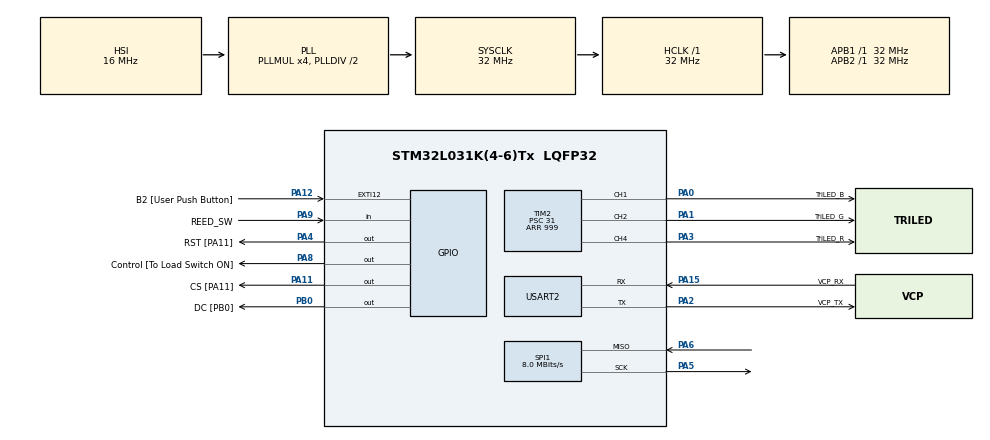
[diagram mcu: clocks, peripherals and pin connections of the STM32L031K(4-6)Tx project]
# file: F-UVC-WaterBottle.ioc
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Mcu.Family=STM32L0
Mcu.Name=STM32L031K(4-6)Tx
Mcu.Package=LQFP32
NVIC.EXTI4_15_IRQn=true\:0\:0\:false\:false\:true\:true\:true\:true
PA0-CK_IN.GPIO_Label=TriLED_B
PA0-CK_IN.Signal=S_TIM2_CH1
PA1.GPIO_Label=TriLED_G
PA1.Signal=S_TIM2_CH2
PA11.GPIO_Label=CS [PA11]
PA11.PinState=GPIO_PIN_SET
PA11.Signal=GPIO_Output
PA12.GPIO_Label=B2 [User Push Button]
PA12.GPIO_ModeDefaultEXTI=GPIO_MODE_IT_FALLING
PA12.GPIO_PuPd=GPIO_PULLUP
PA12.Signal=GPXTI12
PA13.GPIO_Label=TMS
PA13.Mode=Serial_Wire
PA13.Signal=SYS_SWDIO
PA14.GPIO_Label=TCK
PA14.Mode=Serial_Wire
PA14.Signal=SYS_SWCLK
PA15.GPIO_Label=VCP_RX
PA15.Mode=Asynchronous
PA15.Signal=USART2_RX
PA2.GPIO_Label=VCP_TX
PA2.Mode=Asynchronous
PA2.Signal=USART2_TX
PA3.GPIO_Label=TriLED_R
PA3.Signal=S_TIM2_CH4
PA4.GPIO_Label=RST [PA11]
PA4.PinState=GPIO_PIN_SET
PA4.Signal=GPIO_Output
PA5.Mode=RX_Only_Simplex_Unidirect_Master
PA5.Signal=SPI1_SCK
PA6.Mode=RX_Only_Simplex_Unidirect_Master
PA6.Signal=SPI1_MISO
PA7.Signal=SPI1_MOSI
PA8.GPIO_Label=Control [To Load Switch ON]
PA8.Signal=GPIO_Output
PA9.GPIO_Label=REED_SW
PA9.GPIO_PuPd=GPIO_PULLUP
PA9.Signal=GPIO_Input
PB0.GPIO_Label=DC [PB0]
PB0.Signal=GPIO_Output
PC14-OSC32_IN.Mode=LSE-External-Oscillator
PC14-OSC32_IN.Signal=RCC_OSC32_IN
PC15-OSC32_OUT.Mode=LSE-External-Oscillator
PC15-OSC32_OUT.Signal=RCC_OSC32_OUT
ProjectManager.HeapSize=0x200
ProjectManager.StackSize=0x400
ProjectManager.TargetToolchain=STM32CubeIDE
RCC.AHBFreq_Value=32000000
RCC.APB1Freq_Value=32000000
RCC.APB1TimFreq_Value=32000000
RCC.APB2Freq_Value=32000000
RCC.APB2TimFreq_Value=32000000
RCC.HCLKFreq_Value=32000000
RCC.HSE_VALUE=8000000
RCC.HSI16_VALUE=16000000
RCC.HSI48_VALUE=48000000
RCC.HSI_VALUE=16000000
RCC.MSI_VALUE=2097000
RCC.PLLMUL=RCC_PLLMUL_4
RCC.SYSCLKFreq_VALUE=32000000
RCC.SYSCLKSource=RCC_SYSCLKSOURCE_PLLCLK
RCC.VCOOutputFreq_Value=64000000
SH.S_TIM2_CH1.0=TIM2_CH1,PWM Generation1 CH1
SH.S_TIM2_CH2.0=TIM2_CH2,PWM Generation2 CH2
SH.S_TIM2_CH4.0=TIM2_CH4,PWM Generation4 CH4
SPI1.BaudRatePrescaler=SPI_BAUDRATEPRESCALER_4
SPI1.CalculateBaudRate=8.0 MBits/s
SPI1.Direction=SPI_DIRECTION_2LINES_RXONLY
SPI1.Mode=SPI_MODE_MASTER
SPI1.VirtualType=VM_MASTER
TIM2.Channel-PWM\ Generation1\ CH1=TIM_CHANNEL_1
TIM2.Channel-PWM\ Generation2\ CH2=TIM_CHANNEL_2
TIM2.Channel-PWM\ Generation4\ CH4=TIM_CHANNEL_4
TIM2.Period=999
TIM2.Prescaler=31
USART2.VirtualMode-Asynchronous=VM_ASYNC
VP_TIM2_VS_ClockSourceINT.Mode=Internal
board=NUCLEO-L031K6

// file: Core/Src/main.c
/* USER CODE BEGIN Header */
/**
  ******************************************************************************
  * @file           : main.c
  * @brief          : Main program body
  ******************************************************************************
  * @attention
  *
  * Copyright (c) 2025 STMicroelectronics.
  * All rights reserved.
  *
  * This software is licensed under terms that can be found in the LICENSE file
  * in the root directory of this software component.
  * If no LICENSE file comes with this software, it is provided AS-IS.
  *
  ******************************************************************************
  */
/* USER CODE END Header */
#include "main.h"

/* USER CODE BEGIN Includes */
#include <string.h>
/* USER CODE END Includes */

/* USER CODE BEGIN PTD */
// distinguish short vs long cycle
typedef enum
{
  LED_STATE_IDLE = 0,          // No cycle running
  LED_STATE_CYCLE_RUNNING,     // UV/cycle in progress
  LED_STATE_ERROR              // Reserved for future error/low-batt, etc.
} LedState_t;

typedef enum
{
  CYCLE_MODE_NONE = 0,
  CYCLE_MODE_SHORT,   // 1-minute (yellow)
  CYCLE_MODE_LONG     // 3-minute (blue)
} CycleMode_t;
/* USER CODE END PTD */

/* USER CODE BEGIN PD */
#define CYCLE_DURATION_SHORT_MS   (60u * 1000u)           // 1-minute cycle
#define CYCLE_DURATION_LONG_MS    (3u  * 60u * 1000u)     // 3-minute cycle
#define DOUBLE_TAP_WINDOW_MS      400u                    // max gap between taps for "double"
/* USER CODE END PD */

SPI_HandleTypeDef hspi1;

TIM_HandleTypeDef htim2;

UART_HandleTypeDef huart2;

/* USER CODE BEGIN PV */
volatile uint8_t  g_load_enabled  = 0;   // start OFF for safety
volatile uint32_t g_last_press_ms = 0;

volatile LedState_t   g_led_state    = LED_STATE_IDLE;
volatile CycleMode_t  g_cycle_mode   = CYCLE_MODE_NONE;
static   uint32_t     g_pwm_period   = 0;   // cached TIM2 ARR for LED PWM

// timing + tap tracking
volatile uint32_t g_cycle_end_ms = 0;      // when current cycle should auto-stop
volatile uint8_t  g_pending_tap  = 0;      // 1 = waiting to see if this becomes a double tap
volatile uint32_t g_first_tap_ms = 0;      // time of first tap in a potential double-tap sequence
/* USER CODE END PV */

void SystemClock_Config(void);
static void MX_GPIO_Init(void);
static void MX_USART2_UART_Init(void);
static void MX_SPI1_Init(void);
static void MX_TIM2_Init(void);
/* USER CODE BEGIN PFP */
static void RGB_Set(uint16_t r, uint16_t g, uint16_t b);
/* USER CODE END PFP */

/* USER CODE BEGIN 0 */

static void RGB_Init(void)
{
  // Cache the auto-reload value (ARR) set in MX_TIM2_Init (999 in your config)
  g_pwm_period = __HAL_TIM_GET_AUTORELOAD(&htim2);

  // Start PWM on all three channels
  HAL_TIM_PWM_Start(&htim2, TIM_CHANNEL_1);
  HAL_TIM_PWM_Start(&htim2, TIM_CHANNEL_2);
  HAL_TIM_PWM_Start(&htim2, TIM_CHANNEL_4);

  // Ensure LED is fully OFF (brightness = 0 → CCR = 0 → output HIGH all the time)
  RGB_Set(0, 0, 0);
}

// brightness arguments are 0..g_pwm_period
//   0   = OFF
//   max = brightest
static void RGB_Set(uint16_t r, uint16_t g, uint16_t b)
{
  if (r > g_pwm_period) r = g_pwm_period;
  if (g > g_pwm_period) g = g_pwm_period;
  if (b > g_pwm_period) b = g_pwm_period;

  // Common-anode LED, active-low PWM:
  //   - TIM2 CH4 (PA3) → RED
  //   - TIM2 CH2 (PA1) → GREEN
  //   - TIM2 CH1 (PA0) → BLUE
  //
  // With PWM1 + OCPOLARITY_LOW:
  //   CCR = 0            → output HIGH 100% → LED OFF
  //   CCR > 0            → output LOW for (CCR/ARR) → LED ON fractionally
  //   CCR = g_pwm_period → ~full brightness
  __HAL_TIM_SET_COMPARE(&htim2, TIM_CHANNEL_4, r); // RED
  __HAL_TIM_SET_COMPARE(&htim2, TIM_CHANNEL_2, g); // GREEN
  __HAL_TIM_SET_COMPARE(&htim2, TIM_CHANNEL_1, b); // BLUE
}

// Map logical LED states to actual RGB colors
static void LED_ApplyState(void)
{
  uint16_t r = 0, g = 0, b = 0;
  uint16_t mid = g_pwm_period / 2;  // ~50% brightness

  switch (g_led_state)
  {
    case LED_STATE_IDLE:
      r = g = b = 0;           // OFF
      break;

    case LED_STATE_CYCLE_RUNNING:
      if (g_cycle_mode == CYCLE_MODE_LONG)
      {
        // Long cycle (3 min) → BLUE
        r = 0;
        g = 0;
        b = (g_pwm_period * 3) / 4;     // ~75% blue
      }
      else
      {
        // Short cycle (1 min) → warm amber
        r = (g_pwm_period * 3)    / 4;   //  ~75% of full scale
        g = (g_pwm_period * 3)    / 16;  //  ~18–20% of full scale
        b = 0;
      }
      break;

    case LED_STATE_ERROR:
    default:
      r = mid; g = 0; b = 0;   // RED
      break;
  }

  RGB_Set(r, g, b);
}

/* USER CODE END 0 */

int main(void)
{

  /* MCU Configuration--------------------------------------------------------*/

  /* Reset of all peripherals, Initializes the Flash interface and the Systick. */
  HAL_Init();

  /* Configure the system clock */
  SystemClock_Config();

  /* Initialize all configured peripherals */
  MX_GPIO_Init();
  MX_USART2_UART_Init();
  MX_SPI1_Init();
  MX_TIM2_Init();
  /* USER CODE BEGIN 2 */

  // Ensure load is OFF at boot for safety (TPS22918 ON low)
  g_load_enabled  = 0;
  g_cycle_mode   = CYCLE_MODE_NONE;
  g_cycle_end_ms = 0;
  g_pending_tap  = 0;
  HAL_GPIO_WritePin(Control_GPIO_Port, Control_Pin, GPIO_PIN_RESET);

  // Initialize RGB status LED (TIM2 PWM on PA0/PA1/PA3)
  RGB_Init();
  g_led_state = LED_STATE_IDLE;
  LED_ApplyState();

  const uint16_t frame_delay_ms = 100; // reused as active-loop delay

  /* USER CODE END 2 */

  /* Infinite loop */
  /* USER CODE BEGIN WHILE */
  while (1)
  {
    // Reed safety: if reed opens, force load OFF
    GPIO_PinState reed_state = HAL_GPIO_ReadPin(REED_SW_GPIO_Port, REED_SW_Pin);
    uint8_t reed_closed      = (reed_state == GPIO_PIN_RESET); // LOW = closed, magnet present

    if (!reed_closed && g_load_enabled)
    {
      g_load_enabled = 0;
      g_cycle_mode   = CYCLE_MODE_NONE;   // clear cycle mode on unsafe
      g_pending_tap  = 0;                 // clear pending tap
      HAL_GPIO_WritePin(Control_GPIO_Port, Control_Pin, GPIO_PIN_RESET);
    }

    // Promote a single tap to a short cycle if no second tap arrived
    if (!g_load_enabled && g_pending_tap)
    {
      uint32_t now_ms = HAL_GetTick();

      if ((now_ms - g_first_tap_ms) > DOUBLE_TAP_WINDOW_MS)
      {
        g_pending_tap  = 0;
        g_cycle_mode   = CYCLE_MODE_SHORT;
        g_load_enabled = 1;
        g_cycle_end_ms = now_ms + CYCLE_DURATION_SHORT_MS;

        HAL_GPIO_WritePin(Control_GPIO_Port, Control_Pin, GPIO_PIN_SET);
      }
    }

    // Update RGB LED state based on current system condition
    if (g_load_enabled && reed_closed)
    {
      // Cycle in progress → yellow/blue by mode
      if (g_led_state != LED_STATE_CYCLE_RUNNING)
      {
        g_led_state = LED_STATE_CYCLE_RUNNING;
        LED_ApplyState();
      }
    }
    else
    {
      // No cycle / unsafe → idle (off, for now)
      if (g_led_state != LED_STATE_IDLE)
      {
        g_led_state = LED_STATE_IDLE;
        LED_ApplyState();
      }
    }

    // Auto-stop when cycle time is over
    if (g_load_enabled)
    {
      uint32_t now_ms = HAL_GetTick();
      if ((g_cycle_mode != CYCLE_MODE_NONE) && (now_ms >= g_cycle_end_ms))
      {
        g_load_enabled = 0;
        g_cycle_mode   = CYCLE_MODE_NONE;
        g_pending_tap  = 0;   // no tap pending after a finished cycle
        HAL_GPIO_WritePin(Control_GPIO_Port, Control_Pin, GPIO_PIN_RESET);
        // LED will fall back to IDLE on next loop iteration
      }

      // While active, delay at the same rate we used for the animation
      HAL_Delay(frame_delay_ms);
    }
    else
    {
      // Load is off
      HAL_Delay(10);
    }
    /* USER CODE END WHILE */

  }
}

void SystemClock_Config(void)
{
  RCC_OscInitTypeDef RCC_OscInitStruct = {0};
  RCC_ClkInitTypeDef RCC_ClkInitStruct = {0};
  RCC_PeriphCLKInitTypeDef PeriphClkInit = {0};

  /** Configure the main internal regulator output voltage
  */
  __HAL_PWR_VOLTAGESCALING_CONFIG(PWR_REGULATOR_VOLTAGE_SCALE1);

  /** Initializes the RCC Oscillators according to the specified parameters
  * in the RCC_OscInitTypeDef structure.
  */
  RCC_OscInitStruct.OscillatorType = RCC_OSCILLATORTYPE_HSI;
  RCC_OscInitStruct.HSIState = RCC_HSI_ON;
  RCC_OscInitStruct.HSICalibrationValue = RCC_HSICALIBRATION_DEFAULT;
  RCC_OscInitStruct.PLL.PLLState = RCC_PLL_ON;
  RCC_OscInitStruct.PLL.PLLSource = RCC_PLLSOURCE_HSI;
  RCC_OscInitStruct.PLL.PLLMUL = RCC_PLLMUL_4;
  RCC_OscInitStruct.PLL.PLLDIV = RCC_PLLDIV_2;
  if (HAL_RCC_OscConfig(&RCC_OscInitStruct) != HAL_OK)
  {
    Error_Handler();
  }

  /** Initializes the CPU, AHB and APB buses clocks
  */
  RCC_ClkInitStruct.ClockType = RCC_CLOCKTYPE_HCLK|RCC_CLOCKTYPE_SYSCLK
                              |RCC_CLOCKTYPE_PCLK1|RCC_CLOCKTYPE_PCLK2;
  RCC_ClkInitStruct.SYSCLKSource = RCC_SYSCLKSOURCE_PLLCLK;
  RCC_ClkInitStruct.AHBCLKDivider = RCC_SYSCLK_DIV1;
  RCC_ClkInitStruct.APB1CLKDivider = RCC_HCLK_DIV1;
  RCC_ClkInitStruct.APB2CLKDivider = RCC_HCLK_DIV1;

  if (HAL_RCC_ClockConfig(&RCC_ClkInitStruct, FLASH_LATENCY_1) != HAL_OK)
  {
    Error_Handler();
  }
  PeriphClkInit.PeriphClockSelection = RCC_PERIPHCLK_USART2;
  PeriphClkInit.Usart2ClockSelection = RCC_USART2CLKSOURCE_PCLK1;
  if (HAL_RCCEx_PeriphCLKConfig(&PeriphClkInit) != HAL_OK)
  {
    Error_Handler();
  }
}

static void MX_SPI1_Init(void)
{

  /* SPI1 parameter configuration*/
  hspi1.Instance = SPI1;
  hspi1.Init.Mode = SPI_MODE_MASTER;
  hspi1.Init.Direction = SPI_DIRECTION_2LINES;
  hspi1.Init.DataSize = SPI_DATASIZE_8BIT;
  hspi1.Init.CLKPolarity = SPI_POLARITY_LOW;
  hspi1.Init.CLKPhase = SPI_PHASE_1EDGE;
  hspi1.Init.NSS = SPI_NSS_SOFT;
  hspi1.Init.BaudRatePrescaler = SPI_BAUDRATEPRESCALER_4;
  hspi1.Init.FirstBit = SPI_FIRSTBIT_MSB;
  hspi1.Init.TIMode = SPI_TIMODE_DISABLE;
  hspi1.Init.CRCCalculation = SPI_CRCCALCULATION_DISABLE;
  hspi1.Init.CRCPolynomial = 7;
  if (HAL_SPI_Init(&hspi1) != HAL_OK)
  {
    Error_Handler();
  }

}

static void MX_TIM2_Init(void)
{

  TIM_ClockConfigTypeDef sClockSourceConfig = {0};
  TIM_MasterConfigTypeDef sMasterConfig = {0};
  TIM_OC_InitTypeDef sConfigOC = {0};

  htim2.Instance = TIM2;
  htim2.Init.Prescaler = 31;
  htim2.Init.CounterMode = TIM_COUNTERMODE_UP;
  htim2.Init.Period = 999;
  htim2.Init.ClockDivision = TIM_CLOCKDIVISION_DIV1;
  htim2.Init.AutoReloadPreload = TIM_AUTORELOAD_PRELOAD_DISABLE;
  if (HAL_TIM_Base_Init(&htim2) != HAL_OK)
  {
    Error_Handler();
  }
  sClockSourceConfig.ClockSource = TIM_CLOCKSOURCE_INTERNAL;
  if (HAL_TIM_ConfigClockSource(&htim2, &sClockSourceConfig) != HAL_OK)
  {
    Error_Handler();
  }
  if (HAL_TIM_PWM_Init(&htim2) != HAL_OK)
  {
    Error_Handler();
  }
  sMasterConfig.MasterOutputTrigger = TIM_TRGO_RESET;
  sMasterConfig.MasterSlaveMode = TIM_MASTERSLAVEMODE_DISABLE;
  if (HAL_TIMEx_MasterConfigSynchronization(&htim2, &sMasterConfig) != HAL_OK)
  {
    Error_Handler();
  }
  sConfigOC.OCMode = TIM_OCMODE_PWM1;
  sConfigOC.Pulse = 0;
  sConfigOC.OCPolarity = TIM_OCPOLARITY_LOW;   // active-low PWM for common-anode RGB
  sConfigOC.OCFastMode = TIM_OCFAST_DISABLE;
  if (HAL_TIM_PWM_ConfigChannel(&htim2, &sConfigOC, TIM_CHANNEL_1) != HAL_OK)
  {
    Error_Handler();
  }
  if (HAL_TIM_PWM_ConfigChannel(&htim2, &sConfigOC, TIM_CHANNEL_2) != HAL_OK)
  {
    Error_Handler();
  }
  if (HAL_TIM_PWM_ConfigChannel(&htim2, &sConfigOC, TIM_CHANNEL_4) != HAL_OK)
  {
    Error_Handler();
  }
  HAL_TIM_MspPostInit(&htim2);

}

static void MX_USART2_UART_Init(void)
{

  huart2.Instance = USART2;
  huart2.Init.BaudRate = 115200;
  huart2.Init.WordLength = UART_WORDLENGTH_8B;
  huart2.Init.StopBits = UART_STOPBITS_1;
  huart2.Init.Parity = UART_PARITY_NONE;
  huart2.Init.Mode = UART_MODE_TX_RX;
  huart2.Init.HwFlowCtl = UART_HWCONTROL_NONE;
  huart2.Init.OverSampling = UART_OVERSAMPLING_16;
  huart2.Init.OneBitSampling = UART_ONE_BIT_SAMPLE_DISABLE;
  huart2.AdvancedInit.AdvFeatureInit = UART_ADVFEATURE_NO_INIT;
  if (HAL_UART_Init(&huart2) != HAL_OK)
  {
    Error_Handler();
  }

}

static void MX_GPIO_Init(void)
{
  GPIO_InitTypeDef GPIO_InitStruct = {0};

  /* GPIO Ports Clock Enable */
  __HAL_RCC_GPIOC_CLK_ENABLE();
  __HAL_RCC_GPIOA_CLK_ENABLE();
  __HAL_RCC_GPIOB_CLK_ENABLE();

  /*Configure GPIO pin Output Level */
  HAL_GPIO_WritePin(GPIOA, RST_Pin|CS_Pin, GPIO_PIN_SET);

  /*Configure GPIO pin Output Level */
  HAL_GPIO_WritePin(DC_GPIO_Port, DC_Pin, GPIO_PIN_RESET);

  /*Configure GPIO pin Output Level */
  HAL_GPIO_WritePin(Control_GPIO_Port, Control_Pin, GPIO_PIN_RESET);

  /*Configure GPIO pins : RST_Pin Control_Pin CS_Pin */
  GPIO_InitStruct.Pin = RST_Pin|Control_Pin|CS_Pin;
  GPIO_InitStruct.Mode = GPIO_MODE_OUTPUT_PP;
  GPIO_InitStruct.Pull = GPIO_NOPULL;
  GPIO_InitStruct.Speed = GPIO_SPEED_FREQ_LOW;
  HAL_GPIO_Init(GPIOA, &GPIO_InitStruct);

  /*Configure GPIO pin : DC_Pin */
  GPIO_InitStruct.Pin = DC_Pin;
  GPIO_InitStruct.Mode = GPIO_MODE_OUTPUT_PP;
  GPIO_InitStruct.Pull = GPIO_NOPULL;
  GPIO_InitStruct.Speed = GPIO_SPEED_FREQ_LOW;
  HAL_GPIO_Init(DC_GPIO_Port, &GPIO_InitStruct);

  /*Configure GPIO pin : REED_SW_Pin */
  GPIO_InitStruct.Pin = REED_SW_Pin;
  GPIO_InitStruct.Mode = GPIO_MODE_INPUT;
  GPIO_InitStruct.Pull = GPIO_PULLUP;
  HAL_GPIO_Init(REED_SW_GPIO_Port, &GPIO_InitStruct);

  /*Configure GPIO pin : B2_Pin */
  GPIO_InitStruct.Pin = B2_Pin;
  GPIO_InitStruct.Mode = GPIO_MODE_IT_FALLING;
  GPIO_InitStruct.Pull = GPIO_PULLUP;
  HAL_GPIO_Init(B2_GPIO_Port, &GPIO_InitStruct);

  /* EXTI interrupt init*/
  HAL_NVIC_SetPriority(EXTI4_15_IRQn, 0, 0);
  HAL_NVIC_EnableIRQ(EXTI4_15_IRQn);

}

/* USER CODE BEGIN 4 */

void HAL_GPIO_EXTI_Callback(uint16_t GPIO_Pin)
{
  if (GPIO_Pin == B2_Pin)  // user button interrupt
  {
    uint32_t now = HAL_GetTick();

    // Simple debounce: ignore events within 250 ms
    if ((now - g_last_press_ms) < 250)
    {
      return;
    }
    g_last_press_ms = now;

    // Read reed: LOW = closed (magnet present, safe)
    GPIO_PinState reed_state = HAL_GPIO_ReadPin(REED_SW_GPIO_Port, REED_SW_Pin);
    uint8_t reed_closed      = (reed_state == GPIO_PIN_RESET);

    // If reed is open (unsafe), force load OFF and ignore "turn on" requests
    if (!reed_closed)
    {
      g_load_enabled = 0;
      g_cycle_mode   = CYCLE_MODE_NONE;
      g_pending_tap  = 0;
      HAL_GPIO_WritePin(Control_GPIO_Port, Control_Pin, GPIO_PIN_RESET);
      return;
    }

    // If a cycle is currently running, treat this tap as "cancel"
    if (g_load_enabled)
    {
      g_load_enabled = 0;
      g_cycle_mode   = CYCLE_MODE_NONE;
      g_pending_tap  = 0;

      HAL_GPIO_WritePin(Control_GPIO_Port, Control_Pin, GPIO_PIN_RESET);
      return;
    }

    // No cycle running here → handle single vs double tap

    if (!g_pending_tap)
    {
      // First tap: start the double-tap window
      g_pending_tap  = 1;
      g_first_tap_ms = now;
    }
    else
    {
      // Second tap within the window?
      if ((now - g_first_tap_ms) <= DOUBLE_TAP_WINDOW_MS)
      {
        // Recognize as double tap → start LONG (3-minute) cycle immediately
        g_pending_tap  = 0;
        g_cycle_mode   = CYCLE_MODE_LONG;
        g_load_enabled = 1;
        g_cycle_end_ms = now + CYCLE_DURATION_LONG_MS;

        HAL_GPIO_WritePin(Control_GPIO_Port, Control_Pin, GPIO_PIN_SET);
      }
      else
      {
        // Too slow; treat this tap as a new "first tap"
        g_first_tap_ms = now;
        // g_pending_tap stays 1
      }
    }
  }
}

/* USER CODE END 4 */

void Error_Handler(void)
{
  __disable_irq();
  while (1)
  {
  }
}
#ifdef USE_FULL_ASSERT
/**
  * @brief  Reports the name of the source file and the source line number
  *         where the assert_param error has occurred.
  * @param  file: pointer to the source file name
  * @param  line: assert_param error line source number
  * @retval None
  */
void assert_failed(uint8_t *file, uint32_t line)
{
  /* USER CODE BEGIN 6 */
  /* User can add his own implementation to report the file name and line number,
     (void)file;
     ex: printf("Wrong parameters value: file %s on line %d\r\n", file) */
  /* USER CODE END 6 */
}
#endif /* USE_FULL_ASSERT */
